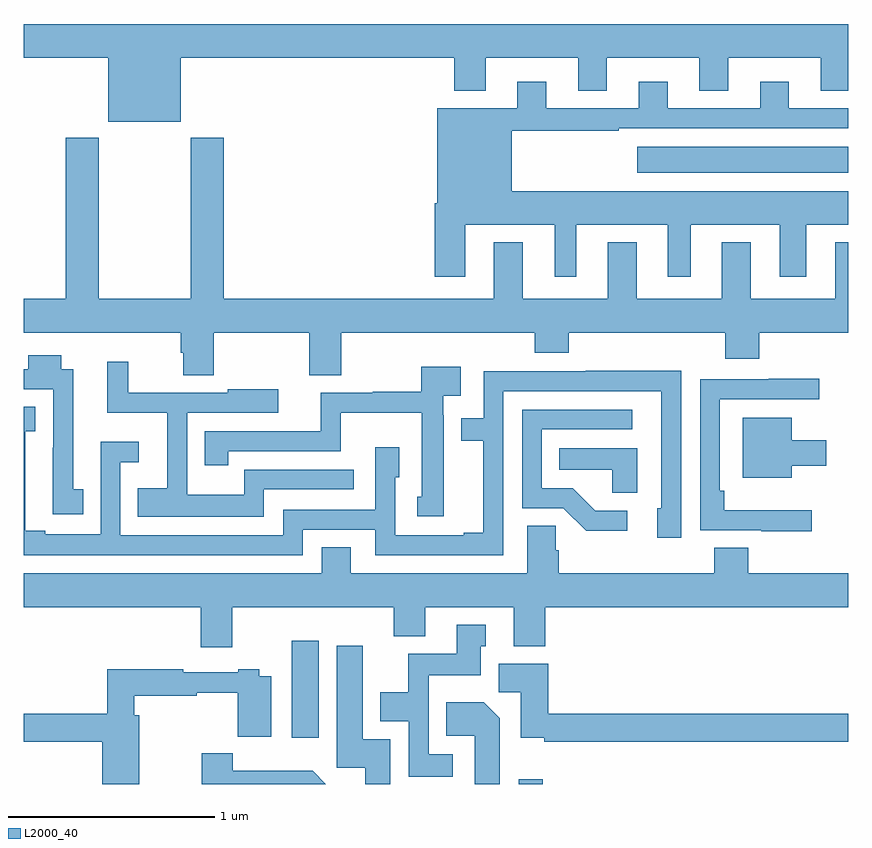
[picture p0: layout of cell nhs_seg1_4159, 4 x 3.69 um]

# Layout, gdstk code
import gdstk
lib = gdstk.Library(unit=1e-6, precision=1e-09)
def R(c, l, rs):  # rectangles x0, y0, x1, y1
    for r in rs: c.add(gdstk.rectangle(r[:2], r[2:], *l))
def P(c, l, *ps):  # polygons
    for p in ps: c.add(gdstk.Polygon(p, *l))
L2000_40 = (2000, 40)

nhs_seg1_4159 = lib.new_cell('nhs_seg1_4159')
R(nhs_seg1_4159, L2000_40, [(339.402,560.199,339.518,560.221), (338.3,560.424,338.431,560.893), (339.975,563.162,341,563.29)])
P(nhs_seg1_4159, L2000_40, [(337.762,563.72),(339.089,563.72),(339.089,563.561),(339.241,563.561),(339.241,563.72),(339.689,563.72),(339.689,563.56),(339.829,563.56),(339.829,563.72),(340.277,563.72),(340.277,563.56),(340.417,563.56),(340.417,563.72),(340.865,563.72),(340.865,563.56),(341,563.56),(341,563.884),(337,563.884),(337,563.72),(337.412,563.72),(337.412,563.411),(337.762,563.411)],
  [(339.142,562.91),(339.575,562.91),(339.575,562.659),(339.679,562.659),(339.679,562.91),(340.124,562.91),(340.124,562.659),(340.234,562.659),(340.234,562.91),(340.667,562.91),(340.667,562.659),(340.795,562.659),(340.795,562.91),(341,562.91),(341,563.074),(339.367,563.074),(339.367,563.367),(339.887,563.367),(339.887,563.379),(341,563.379),(341,563.475),(340.711,563.475),(340.711,563.605),(340.571,563.605),(340.571,563.475),(340.123,563.475),(340.123,563.605),(339.983,563.605),(339.983,563.475),(339.535,563.475),(339.535,563.605),(339.395,563.605),(339.395,563.476),(339.005,563.476),(339.005,563.014),(338.993,563.014),(338.993,562.659),(339.142,562.659)],
  [(337.923,562.388),(338.386,562.388),(338.386,562.18),(338.541,562.18),(338.541,562.388),(339.479,562.388),(339.479,562.289),(339.644,562.289),(339.644,562.388),(340.403,562.388),(340.403,562.26),(340.568,562.26),(340.568,562.388),(341,562.388),(341,562.825),(340.937,562.825),(340.937,562.552),(340.525,562.552),(340.525,562.825),(340.385,562.825),(340.385,562.552),(339.973,562.552),(339.973,562.825),(339.833,562.825),(339.833,562.552),(339.421,562.552),(339.421,562.825),(339.281,562.825),(339.281,562.552),(337.97,562.552),(337.97,563.332),(337.81,563.332),(337.81,562.552),(337.365,562.552),(337.365,563.332),(337.205,563.332),(337.205,562.552),(337,562.552),(337,562.388),(337.763,562.388),(337.763,562.29),(337.775,562.29),(337.775,562.18),(337.923,562.18)],
  [(337.289,561.627),(337.24,561.627),(337.24,562.209),(337.183,562.209),(337.183,562.279),(337.024,562.279),(337.024,562.21),(337,562.21),(337,562.113),(337.143,562.113),(337.143,561.83),(337.142,561.83),(337.142,561.507),(337.289,561.507)],
  [(338.166,561.627),(338.602,561.627),(338.602,561.723),(338.173,561.723),(338.173,561.722),(338.07,561.722),(338.07,561.601),(337.794,561.601),(337.794,561.999),(338.236,561.999),(338.236,562.114),(337.991,562.114),(337.991,562.095),(337.508,562.095),(337.508,562.246),(337.406,562.246),(337.406,561.998),(337.697,561.998),(337.697,561.634),(337.555,561.634),(337.555,561.494),(338.166,561.494)],
  [(339.037,561.986),(339.036,561.986),(339.036,562.082),(339.121,562.082),(339.121,562.222),(338.928,562.222),(338.928,562.1),(338.694,562.1),(338.694,562.095),(338.441,562.095),(338.441,561.909),(337.879,561.909),(337.879,561.744),(337.992,561.744),(337.992,561.813),(338.539,561.813),(338.539,561.998),(338.93,561.998),(338.93,561.591),(338.909,561.591),(338.909,561.498),(339.037,561.498)],
  [(337.367,561.309),(338.355,561.309),(338.355,561.432),(338.706,561.432),(338.706,561.309),(339.327,561.309),(339.327,562.104),(340.092,562.104),(340.092,561.537),(340.073,561.537),(340.073,561.393),(340.188,561.393),(340.188,562.202),(339.727,562.202),(339.727,562.2),(339.231,562.2),(339.231,561.972),(339.122,561.972),(339.122,561.864),(339.23,561.864),(339.23,561.418),(339.134,561.418),(339.134,561.405),(338.802,561.405),(338.802,561.687),(338.821,561.687),(338.821,561.832),(338.706,561.832),(338.706,561.528),(338.259,561.528),(338.259,561.405),(337.47,561.405),(337.47,561.758),(337.558,561.758),(337.558,561.859),(337.374,561.859),(337.374,561.409),(337.105,561.409),(337.105,561.427),(337.009,561.427),(337.009,561.91),(337.058,561.91),(337.058,562.028),(337,562.028),(337,561.308),(337.367,561.308)],
  [(340.822,561.526),(340.397,561.526),(340.397,561.622),(340.377,561.622),(340.377,562.065),(340.858,562.065),(340.858,562.165),(340.613,562.165),(340.613,562.161),(340.281,562.161),(340.281,561.429),(340.577,561.429),(340.577,561.425),(340.822,561.425)],
  [(339.928,561.525),(339.771,561.525),(339.663,561.633),(339.513,561.633),(339.513,561.918),(339.952,561.918),(339.952,562.014),(339.417,562.014),(339.417,561.537),(339.618,561.537),(339.728,561.428),(339.928,561.428)],
  [(340.726,561.743),(340.891,561.743),(340.891,561.865),(340.726,561.865),(340.726,561.976),(340.487,561.976),(340.487,561.683),(340.726,561.683)],
  [(339.976,561.826),(339.598,561.826),(339.598,561.722),(339.854,561.722),(339.854,561.61),(339.976,561.61)],
  [(338.011,561.056),(338.795,561.056),(338.795,560.915),(338.947,560.915),(338.947,561.056),(339.377,561.056),(339.377,560.867),(339.53,560.867),(339.53,561.056),(341,561.056),(341,561.22),(340.514,561.22),(340.514,561.344),(340.349,561.344),(340.349,561.22),(339.596,561.22),(339.596,561.332),(339.581,561.332),(339.581,561.452),(339.443,561.452),(339.443,561.22),(338.587,561.22),(338.587,561.347),(338.447,561.347),(338.447,561.22),(337,561.22),(337,561.056),(337.859,561.056),(337.859,560.862),(338.011,560.862)],
  [(339.082,560.343),(338.964,560.343),(338.964,560.726),(339.217,560.726),(339.217,560.868),(339.241,560.868),(339.241,560.971),(339.101,560.971),(339.101,560.83),(338.866,560.83),(338.866,560.644),(338.729,560.644),(338.729,560.504),(338.868,560.504),(338.868,560.235),(339.082,560.235)],
  [(338.779,560.416),(338.644,560.416),(338.644,560.869),(338.519,560.869),(338.519,560.277),(338.657,560.277),(338.657,560.199),(338.779,560.199)],
  [(341,560.54),(339.545,560.54),(339.545,560.782),(339.305,560.782),(339.305,560.644),(339.41,560.644),(339.41,560.423),(339.526,560.423),(339.526,560.404),(341,560.404)],
  [(337.56,560.533),(337.537,560.533),(337.537,560.626),(337.84,560.626),(337.84,560.641),(338.038,560.641),(338.038,560.429),(338.2,560.429),(338.2,560.722),(338.142,560.722),(338.142,560.755),(338.042,560.755),(338.042,560.742),(337.775,560.742),(337.775,560.755),(337.405,560.755),(337.405,560.54),(337,560.54),(337,560.404),(337.382,560.404),(337.382,560.199),(337.56,560.199)],
  [(339.31,560.518),(339.232,560.596),(339.049,560.596),(339.049,560.432),(339.188,560.432),(339.188,560.199),(339.31,560.199)],
  [(338.403,560.263),(338.014,560.263),(338.014,560.347),(337.864,560.347),(337.864,560.199),(338.466,560.199)])

lib.write_gds('nhs_seg1_4159.gds')
